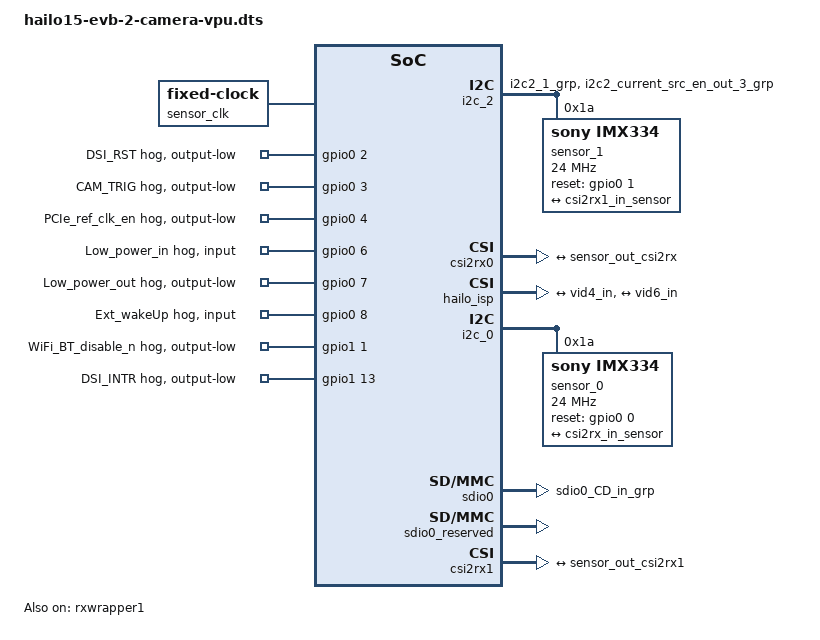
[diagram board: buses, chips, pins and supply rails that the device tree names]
// SPDX-License-Identifier:     GPL-2.0
/*
 * Copyright (c) 2019-2023 Hailo Technologies Ltd. All rights reserved.
 */

/dts-v1/;
#include "hailo15-evb-base.dtsi"
#include <dt-bindings/pinctrl/hailo15_cpld.h>

&i2c_2 {
    status = "okay";
    pinctrl-names = "default";
    pinctrl-0 = <&pinctrl_i2c2>, <&pinctrl_i2c2_current_src_en_out>;

    sensor_1: camera-sensor@1a {
        status = "okay";
        compatible = "sony,imx334", "sony,imx664", "sony,imx675", "sony,imx678", "sony,imx715";
        reg = <0x1a>;
        clocks = <&sensor_clk>;
        clock-names = "inclk";
        clock-frequency = <24000000>;
        csi-id = <1>;
        reset-gpios = <&gpio0 1 GPIO_ACTIVE_HIGH>;
        port {
            sensor_out_csi2rx1: endpoint {
                data-lanes = <1 2 3 4>;
                remote-endpoint = <&csi2rx1_in_sensor>;
                link-frequencies = /bits/ 64 <720000000 891000000 1188000000 1440000000 1782000000>;
            };
        };
    };
};

/ {
    sensor_clk: sensor_clk {
        compatible = "fixed-clock";
        #clock-cells = <0>;
        clock-frequency = <24000000>;
    };
};


&csi2rx0 {
    ports {
        port@0 {
            csi2rx_in_sensor: endpoint {
                remote-endpoint = <&sensor_out_csi2rx>;
            };
        };
    };
};

&rxwrapper1 {
    status = "okay";
    ports {
        port@0 {
            rxwrapper1_in_mux: endpoint {
                remote-endpoint = <&mux_out_rxwrapper1>;
            };
        };
        port@1 {
            rxwrapper_out_csi1_sX: endpoint {
                remote-endpoint = <&vid5_in>;
            };
        };
        port@2 {
            rxwrapper_out_csi1_s0: endpoint {
                remote-endpoint = <&vid50_in>;
            };
        };
        port@3 {
            rxwrapper_out_csi1_s1: endpoint {
                remote-endpoint = <&vid51_in>;
            };
        };
        port@4 {
            rxwrapper_out_csi1_s2: endpoint {
                remote-endpoint = <&vid52_in>;
            };
        };
        port@5 {
            rxwrapper_out_csi1_s3: endpoint {
                remote-endpoint = <&vid53_in>;
            };
        };
        port@6 {
            rxwrapper1_out_isp: endpoint {
                remote-endpoint = <&isp_in_rxwrapper1>;
            };
        };
    };
};

// TODO: uncomment when ISP will support streaming from CSI-1
&hailo_isp {
    ports {
        port@4 {
            reg = <4>;
            isp_out_s1_vid4: endpoint {
                sink = <0>;
                remote-endpoint = <&vid4_in>;
            };
        };
        port@6 {
            reg = <6>;
            isp_out_s1_vid6: endpoint {
                sink = <0>;
                remote-endpoint = <&vid6_in>;
            };
        };
    };
};

&hailo_vid_cap {
    ports {
        // TODO: uncomment when ISP will support streaming from CSI-1
        port@4{
            reg = <HAILO15_VID_GRP_SX_CSI1_ISP_MP>;
            vid4_in: endpoint {
                reg = <HAILO15_VID_GRP_SX_CSI1_ISP_MP>;
                sink = <1>;
                path = <HAILO15_VID_GRP_SX_CSI1_ISP_MP>;
                remote-endpoint = <&isp_out_s1_vid4>;
            };
        };
        port@6{
            reg = <HAILO15_VID_GRP_SX_CSI1_ISP_SP>;
            vid6_in: endpoint {
                reg = <HAILO15_VID_GRP_SX_CSI1_ISP_SP>;
                sink = <1>;
                path = <HAILO15_VID_GRP_SX_CSI1_ISP_SP>;
                remote-endpoint = <&isp_out_s1_vid6>;
            };
        };
        port@5{
            reg = <HAILO15_VID_GRP_SX_CSI1_P2A>;
            vid5_in: endpoint {
                reg = <HAILO15_VID_GRP_SX_CSI1_P2A>;
                sink = <1>;
                path = <HAILO15_VID_GRP_SX_CSI1_P2A>;
                remote-endpoint = <&rxwrapper_out_csi1_sX>;
            };
        };
        port@50{
            reg = <HAILO15_VID_GRP_S0_CSI1_P2A>;
            vid50_in: endpoint {
                reg = <HAILO15_VID_GRP_S0_CSI1_P2A>;
                sink = <1>;
                path = <HAILO15_VID_GRP_S0_CSI1_P2A>;
                remote-endpoint = <&rxwrapper_out_csi1_s0>;
            };
        };
        port@51{
            reg = <HAILO15_VID_GRP_S1_CSI1_P2A>;
            vid51_in: endpoint {
                reg = <HAILO15_VID_GRP_S1_CSI1_P2A>;
                sink = <1>;
                path = <HAILO15_VID_GRP_S1_CSI1_P2A>;
                remote-endpoint = <&rxwrapper_out_csi1_s1>;
            };
        };
        port@52{
            reg = <HAILO15_VID_GRP_S2_CSI1_P2A>;
            vid52_in: endpoint {
                reg = <HAILO15_VID_GRP_S2_CSI1_P2A>;
                sink = <1>;
                path = <HAILO15_VID_GRP_S2_CSI1_P2A>;
                remote-endpoint = <&rxwrapper_out_csi1_s2>;
            };
        };
        port@53{
            reg = <HAILO15_VID_GRP_S3_CSI1_P2A>;
            vid53_in: endpoint {
                reg = <HAILO15_VID_GRP_S3_CSI1_P2A>;
                sink = <1>;
                path = <HAILO15_VID_GRP_S3_CSI1_P2A>;
                remote-endpoint = <&rxwrapper_out_csi1_s3>;
            };
        };
    };
};

&i2c_0 {
    sensor_0: camera-sensor@1a {
        status = "okay";
        compatible = "sony,imx334", "sony,imx664","sony,imx675", "sony,imx678", "sony,imx715";
        reg = <0x1a>;
        clocks = <&sensor_clk>;
        clock-names = "inclk";
        clock-frequency = <24000000>;
        csi-id = <0>;
        reset-gpios = <&gpio0 0 GPIO_ACTIVE_HIGH>;
        port {
            sensor_out_csi2rx: endpoint {
                data-lanes = <1 2 3 4>;
                remote-endpoint = <&csi2rx_in_sensor>;
		        link-frequencies = /bits/ 64 <720000000 891000000 1188000000 1440000000 1782000000>;
            };
        };
     };
};

&sdio0 {
    pinctrl-names = "default";
    pinctrl-0 = <&pinctrl_sdio0_CD_in>;
    broken-cd;
};

&sdio0_reserved {
    status = "okay";
};

&pinctrl {
    i2c-bus = <&i2c_1>;
    board-config = <H15_CPLD_BOARD_CONFIG__TWO_CAMERAS_VPU>;

    pinctrl_i2c2: i2c2 {
        function = "i2c2";
        groups = "i2c2_1_grp";
    };

    pinctrl_i2c0_current_src_en_out: i2c0_current_src_en_out {
        function = "i2c0_current_src_en_out";
        groups = "i2c0_current_src_en_out_3_grp";
    };

    pinctrl_i2c1_current_src_en_out: i2c1_current_src_en_out {
        function = "i2c1_current_src_en_out";
        groups = "i2c1_current_src_en_out_4_grp";
    };

    pinctrl_i2c2_current_src_en_out: i2c2_current_src_en_out {
        function = "i2c2_current_src_en_out";
        groups = "i2c2_current_src_en_out_3_grp";
    };

    pinctrl_sdio0_gp_in: sdio0_gp_in {
        function = "sdio0_gp_in";
        groups = "sdio0_gp_in_grp";
    };

    pinctrl_sdio1_gp_in: sdio1_gp_in {
        function = "sdio1_gp_in";
        groups = "sdio1_gp_in_grp";
    };

    pinctrl_sdio0_CD_in: sdio0_CD_in {
        function = "sdio0_CD_in";
        groups = "sdio0_CD_in_grp";
    };

    pinctrl_sdio1_CD_in: sdio1_CD_in {
        function = "sdio1_CD_in";
        groups = "sdio1_CD_in_grp";
    };

    pinctrl_uart0_cts_rts: uart0_cts_rts {
        function = "uart0_cts_rts";
        groups = "uart0_cts_rts_1_grp";
    };
};

#define GPIO_LINE_NAMES \
    "cam0_reset_n",             "cam1_reset_n",         "DSI_RST",                  "CAM_TRIG", \
    "PCIe_ref_clk_en",          "gpio_in_out_5",        "Low_power_in",             "Low_power_out", \
    "Ext_wakeUp",               "sdio0_gp_in",          "sdio0_cd_in",              "usb_overcurrent_n_in", \
    "usb_drive_vbus_out",       "sdio1_gp_in",          "sdio1_cd_in_n",            "pcie_mperst_out", \
    \
    "gpio_in_out_16",           "WiFi_BT_disable_n",    "timer_ext_in0",            "timer_ext_in1", \
    "shut_down_out",            "gpio_in_out_21",       "i2c2_sda_in_out",          "i2c2_scl_out", \
    "i2c2_current_src_en_out",  "i2c0_current_src_en_out", "i2c1_current_src_en_out", "gpio_in_out_27", \
    "gpio_in_out_28",           "DSI_INTR",             "uart0_cts_pad_in",         "uart0_rts_pad_out"

&gpio0 {
    gpio-ranges = <&pinctrl 0 0 16>;

    gpio-line-names = GPIO_LINE_NAMES;

    pin_DSI_RST {
        gpio-hog;
        gpios = <2 GPIO_ACTIVE_HIGH>;
        output-low;
        line-name = "DSI_RST";
    };

    pin_CAM_TRIG {
        gpio-hog;
        gpios = <3 GPIO_ACTIVE_HIGH>;
        output-low;
        line-name = "CAM_TRIG";
    };

    pin_PCIe_ref_clk_en {
        gpio-hog;
        gpios = <4 GPIO_ACTIVE_HIGH>;
        output-low;
        line-name = "PCIe_ref_clk_en";
    };

    pin_Low_power_in {
        gpio-hog;
        gpios = <6 GPIO_ACTIVE_HIGH>;
        input;
        line-name = "Low_power_in";
    };

    pin_Low_power_out {
        gpio-hog;
        gpios = <7 GPIO_ACTIVE_HIGH>;
        output-low;
        line-name = "Low_power_out";
    };

    pin_Ext_wakeUp {
        gpio-hog;
        gpios = <8 GPIO_ACTIVE_HIGH>;
        input;
        line-name = "Ext_wakeUp";
    };
};

&gpio1 {
    gpio-ranges = <&pinctrl 0 16 16>;

    gpio-line-names = GPIO_LINE_NAMES;

    pin_WiFi_BT_disable_n {
        gpio-hog;
        gpios = <1 GPIO_ACTIVE_HIGH>;
        output-low;
        line-name = "WiFi_BT_disable_n";
    };

    pin_DSI_INTR {
        gpio-hog;
        gpios = <13 GPIO_ACTIVE_HIGH>;
        output-low;
        line-name = "DSI_INTR";
    };
};

&csi2rx1 {
    status = "okay";
    ports {
        port@0 {
            csi2rx1_in_sensor: endpoint {
                remote-endpoint = <&sensor_out_csi2rx1>;
            };
        };
    };
};
